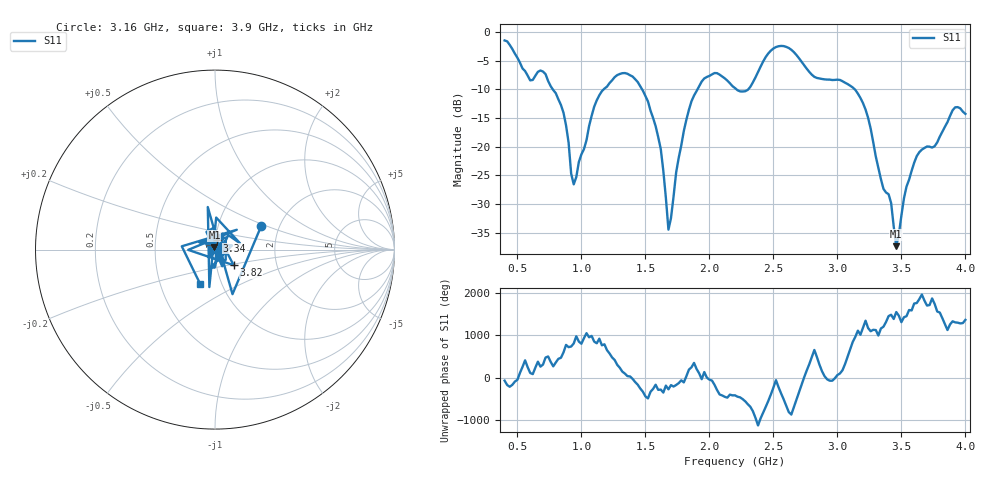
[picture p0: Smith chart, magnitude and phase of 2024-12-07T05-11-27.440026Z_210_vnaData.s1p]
!Created with skrf (http://scikit-rf.org).
# Hz S RI R 50.0
!freq ReS11 ImS11
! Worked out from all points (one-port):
!   181 points, 400 MHz to 4 GHz, reference 50 ohm
!   lowest |S11| = -37.3 dB at 3.46 GHz (marker M1), VSWR 1.03, Z = 49.6 + j1.31 ohm
!   |S11| at or under -10 dB: 777.2 MHz to 1.173 GHz (395.8 MHz wide, 40.6 % of centre); 1.475 GHz to 1.906 GHz (431.5 MHz wide, 25.5 % of centre); 3.137 GHz to end of sweep (the widest 3 of 4)
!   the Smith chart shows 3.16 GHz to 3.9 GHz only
!   S11 on the Smith chart (normalised r, x): 3.16 GHz: 1.61, +0.47; 3.34 GHz: 1.02, +0.10; 3.82 GHz: 1.21, -0.21; 3.9 GHz: 0.79, -0.32
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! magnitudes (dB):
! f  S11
! 400 MHz  -1.4
! 600 MHz  -8.4
! 720 MHz  -7.3
! 860 MHz  -14.0
! 940 MHz  -26.6
! 1.12 GHz  -11.9
! 1.3 GHz  -7.3
! 1.52 GHz  -12.1
! 1.62 GHz  -20.4
! 1.68 GHz  -34.5
! 1.76 GHz  -22.0
! 1.86 GHz  -12.1
! 1.94 GHz  -8.6
! 2.2 GHz  -9.8
! 2.3 GHz  -10.1
! 2.5 GHz  -2.8
! 2.66 GHz  -3.5
! 3.1 GHz  -9.3
! 3.16 GHz  -10.7
! 3.24 GHz  -15.0
! 3.34 GHz  -25.6
! 3.42 GHz  -29.8
! 3.46 GHz  -37.3
! 3.56 GHz  -25.7
! 3.64 GHz  -20.9
! 3.82 GHz  -17.4
! 3.9 GHz  -13.6
! 4 GHz  -14.3
